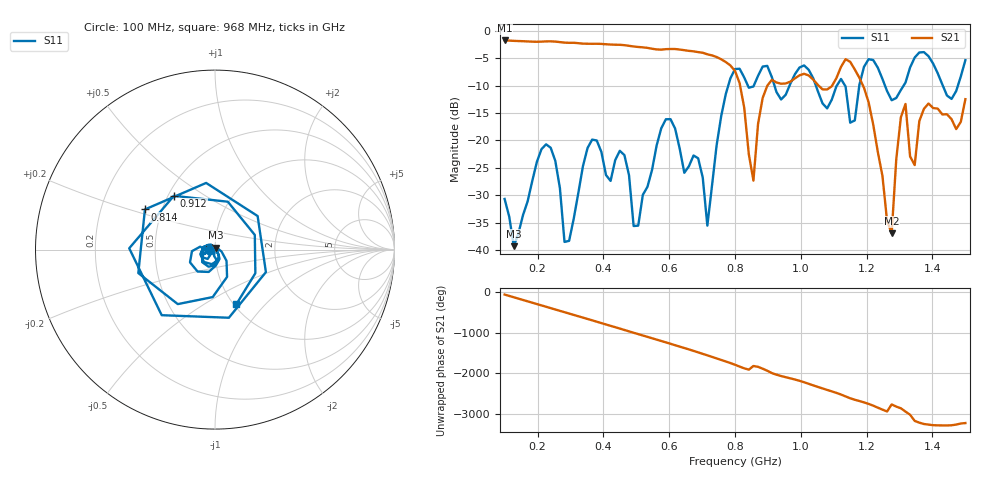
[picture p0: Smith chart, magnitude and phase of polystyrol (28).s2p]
! NanoVNA-App
! Date: 2025-09-26 09:42:06
! Start: 100MHz Stop: 1,5GHz Points: 101
! S-Parameter data: F S11 S21 S12 S22
# Hz S RI R 50
!  Frequency  S11_Real  S11_Imag  S21_Real  S21_Imag  S12_Real  S12_Imag  S22_Real  S22_Imag
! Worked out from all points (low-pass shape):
!   101 points, 100 MHz to 1.5 GHz, reference 50 ohm
!   highest |S21| = -1.79 dB at 100 MHz (marker M1); lowest = -36.9 dB at 1.276 GHz (marker M2)
!   |S21| within 3 dB of the highest: start of sweep to 743.6 MHz
!   lowest |S11| = -39.2 dB at 128 MHz (marker M3), VSWR 1.02, Z = 50.3 + j1.06 ohm
!   |S11| at or under -10 dB: start of sweep to 779.6 MHz; 1.046 GHz to 1.11 GHz (63.89 MHz wide, 5.93 % of centre); 1.256 GHz to 1.312 GHz (56.73 MHz wide, 4.42 % of centre)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
!   S12 and S22 are empty: the file has one direction only
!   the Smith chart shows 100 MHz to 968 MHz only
!   S11 on the Smith chart (normalised r, x): 100 MHz: 0.94, -0.01; 814 MHz: 0.40, +0.23; 912 MHz: 0.54, +0.37; 968 MHz: 1.03, -0.70
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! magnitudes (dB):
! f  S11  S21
! 100 MHz  -30.6  -1.8
! 128 MHz  -39.2  -1.9
! 212 MHz  -21.6  -2.0
! 282 MHz  -38.5  -2.2
! 338 MHz  -24.7  -2.4
! 464 MHz  -22.7  -2.6
! 506 MHz  -35.5  -3.0
! 576 MHz  -17.8  -3.5
! 688 MHz  -23.2  -3.9
! 716 MHz  -35.5  -4.3
! 800 MHz  -7.0  -7.3
! 814 MHz  -6.9  -9.5
! 856 MHz  -10.2  -27.3
! 912 MHz  -8.5  -8.9
! 968 MHz  -9.7  -9.3
! 1.038 GHz  -8.7  -8.9
! 1.178 GHz  -9.8  -8.6
! 1.276 GHz  -12.7  -36.9
! 1.318 GHz  -9.5  -13.4
! 1.346 GHz  -4.9  -24.5
! 1.374 GHz  -3.9  -14.2
! 1.5 GHz  -5.4  -12.5
